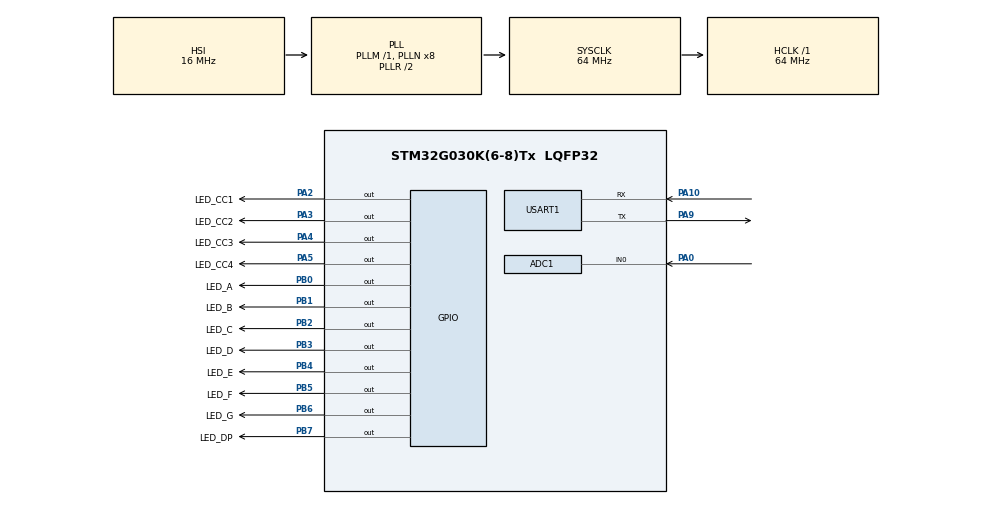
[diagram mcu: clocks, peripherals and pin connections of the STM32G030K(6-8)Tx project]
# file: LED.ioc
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ADC1.Channel-0\#ChannelRegularConversion=ADC_CHANNEL_0
ADC1.NbrOfConversionFlag=1
ADC1.Rank-0\#ChannelRegularConversion=1
ADC1.SamplingTime-0\#ChannelRegularConversion=ADC_SAMPLINGTIME_COMMON_1
ADC1.SamplingTimeCommon1=ADC_SAMPLETIME_19CYCLES_5
ADC1.SamplingTimeCommon2=ADC_SAMPLETIME_19CYCLES_5
ADC1.SelectedChannel=ADC_CHANNEL_0
ADC1.master=1
Mcu.Family=STM32G0
Mcu.Name=STM32G030K(6-8)Tx
Mcu.Package=LQFP32
NVIC.ADC1_IRQn=true\:0\:0\:false\:false\:true\:true\:true\:true
NVIC.USART1_IRQn=true\:0\:0\:false\:false\:true\:true\:true\:true
PA0.Mode=IN0
PA0.Signal=ADC1_IN0
PA10.Mode=Asynchronous
PA10.Signal=USART1_RX
PA13.Mode=Serial_Wire
PA13.Signal=SYS_SWDIO
PA14-BOOT0.Mode=Serial_Wire
PA14-BOOT0.Signal=SYS_SWCLK
PA2.GPIO_Label=LED_CC1
PA2.PinState=GPIO_PIN_SET
PA2.Signal=GPIO_Output
PA3.GPIO_Label=LED_CC2
PA3.PinState=GPIO_PIN_SET
PA3.Signal=GPIO_Output
PA4.GPIO_Label=LED_CC3
PA4.PinState=GPIO_PIN_SET
PA4.Signal=GPIO_Output
PA5.GPIO_Label=LED_CC4
PA5.PinState=GPIO_PIN_SET
PA5.Signal=GPIO_Output
PA9.Mode=Asynchronous
PA9.Signal=USART1_TX
PB0.GPIO_Label=LED_A
PB0.Signal=GPIO_Output
PB1.GPIO_Label=LED_B
PB1.Signal=GPIO_Output
PB2.GPIO_Label=LED_C
PB2.Signal=GPIO_Output
PB3.GPIO_Label=LED_D
PB3.Signal=GPIO_Output
PB4.GPIO_Label=LED_E
PB4.Signal=GPIO_Output
PB5.GPIO_Label=LED_F
PB5.Signal=GPIO_Output
PB6.GPIO_Label=LED_G
PB6.Signal=GPIO_Output
PB7.GPIO_FM7=__NULL
PB7.GPIO_Label=LED_DP
PB7.Signal=GPIO_Output
ProjectManager.HeapSize=0x200
ProjectManager.StackSize=0x400
ProjectManager.TargetToolchain=CMake
RCC.ADCFreq_Value=64000000
RCC.AHBFreq_Value=64000000
RCC.CortexFreq_Value=64000000
RCC.EXTERNAL_CLOCK_VALUE=12288000
RCC.HCLKFreq_Value=64000000
RCC.HSE_VALUE=8000000
RCC.HSI_VALUE=16000000
RCC.LSE_VALUE=32768
RCC.SYSCLKFreq_VALUE=64000000
RCC.SYSCLKSource=RCC_SYSCLKSOURCE_PLLCLK
RCC.VCOOutputFreq_Value=128000000
TIM3.Period=49999
TIM3.Prescaler=639
TIM3.TIM_MasterOutputTrigger=TIM_TRGO_UPDATE
USART1.VirtualMode-Asynchronous=VM_ASYNC
VP_TIM3_VS_ClockSourceINT.Mode=Internal
board=custom

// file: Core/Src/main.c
/* USER CODE BEGIN Header */
/**
  ******************************************************************************
  * @file           : main.c
  * @brief          : Main program body
  ******************************************************************************
  * @attention
  *
  * Copyright (c) 2025 STMicroelectronics.
  * All rights reserved.
  *
  * This software is licensed under terms that can be found in the LICENSE file
  * in the root directory of this software component.
  * If no LICENSE file comes with this software, it is provided AS-IS.
  *
  ******************************************************************************
  */
/* USER CODE END Header */
#include "main.h"
#include "adc.h"
#include "tim.h"
#include "usart.h"
#include "gpio.h"

/* USER CODE BEGIN Includes */
#include "led_seg_display.h"
#include <stdio.h>
#include <string.h>
/* USER CODE END Includes */

/* USER CODE BEGIN PV */
uint8_t adc_cvt_cplt;
uint16_t volt;
uint16_t final_volt;
/* USER CODE END PV */

void SystemClock_Config(void);

/* USER CODE BEGIN 0 */
void HAL_ADC_ConvCpltCallback(ADC_HandleTypeDef *hadc)
{
  static uint32_t last_scan = 0;
  uint32_t current_tick = HAL_GetTick();

  if(hadc->Instance == ADC1) // 使用简化的判断
  {
    // 1. 读取ADC原始值
    uint16_t raw_value = HAL_ADC_GetValue(hadc);
    // 2. 计算电压值 (注意：这里只做最简单的计算，把复杂运算留给主循环)
    volt = raw_value; // 直接保存原始值，让主循环处理

    // 3. 设置一个标志位，通知主循环数据已准备好
    adc_cvt_cplt = 1;
    DisplayDigitINT32(final_volt);
    //控制扫描频率,现在是2Hz
        if(current_tick - last_scan >= 2) {
            last_scan = current_tick;
            DisplayCallback();
        }
    // 关键：删除这里的ADC启动调用，打破无限中断循环！
    // HAL_ADC_Start_IT(&hadc1);

    // HAL_Delay(500);
      }
}

/* USER CODE END 0 */

int main(void)
{

  /* MCU Configuration--------------------------------------------------------*/

  /* Reset of all peripherals, Initializes the Flash interface and the Systick. */
  HAL_Init();

  /* USER CODE BEGIN Init */
  char txbuf[32];
  int len;
  /* USER CODE END Init */

  /* Configure the system clock */
  SystemClock_Config();

  /* Initialize all configured peripherals */
  MX_GPIO_Init();
  MX_ADC1_Init();
  MX_USART1_UART_Init();
  MX_TIM3_Init();
  // /* USER CODE BEGIN 2 */

  uint32_t start_ms = HAL_GetTick();   // 记录进入while前的时间戳
  uint8_t scrolling_done = 0;          // 滚动完成标志

  // // 启动ADC中断
  // HAL_ADC_Start_IT(&hadc1);
  // 启动定时器并使能中断 (TIM3将作为ADC的触发器)
  HAL_TIM_Base_Start_IT(&htim3);

  /* USER CODE END 2 */

  /* Infinite loop */
  /* USER CODE BEGIN WHILE */
  while (1)
  {
    uint32_t now = HAL_GetTick();
    if (!scrolling_done)
    {
      if (now - start_ms < 5000)
      {
        DisplayScrolling2352662();     // 前5秒执行滚动显示
      }
      else
      {
        scrolling_done = 1;            // 5秒后只执行下面的ADC处理
      }
    }

    if (scrolling_done)
    {
      HAL_ADC_Start_IT(&hadc1);
      // 检查ADC数据是否准备好
      if (adc_cvt_cplt == 1)
      {
        adc_cvt_cplt = 0;              // 重置标志
        final_volt = (volt * 3300) / 4096;
        memset(txbuf, 0, sizeof(txbuf));
        len = sprintf(txbuf, "voltage=%d mV\n", final_volt);
        if (len > 0)
        {
          HAL_UART_Transmit(&huart1, (uint8_t*)txbuf, len, 100);
        }
        HAL_Delay(500);

        int i =1;
        i++;
        DisplayDigitINT32(i);
      }
    }

  }
    /* USER CODE END WHILE */

  }

void SystemClock_Config(void)
{
  RCC_OscInitTypeDef RCC_OscInitStruct = {0};
  RCC_ClkInitTypeDef RCC_ClkInitStruct = {0};

  /** Configure the main internal regulator output voltage
  */
  HAL_PWREx_ControlVoltageScaling(PWR_REGULATOR_VOLTAGE_SCALE1);

  /** Initializes the RCC Oscillators according to the specified parameters
  * in the RCC_OscInitTypeDef structure.
  */
  RCC_OscInitStruct.OscillatorType = RCC_OSCILLATORTYPE_HSI;
  RCC_OscInitStruct.HSIState = RCC_HSI_ON;
  RCC_OscInitStruct.HSIDiv = RCC_HSI_DIV1;
  RCC_OscInitStruct.HSICalibrationValue = RCC_HSICALIBRATION_DEFAULT;
  RCC_OscInitStruct.PLL.PLLState = RCC_PLL_ON;
  RCC_OscInitStruct.PLL.PLLSource = RCC_PLLSOURCE_HSI;
  RCC_OscInitStruct.PLL.PLLM = RCC_PLLM_DIV1;
  RCC_OscInitStruct.PLL.PLLN = 8;
  RCC_OscInitStruct.PLL.PLLP = RCC_PLLP_DIV2;
  RCC_OscInitStruct.PLL.PLLR = RCC_PLLR_DIV2;
  if (HAL_RCC_OscConfig(&RCC_OscInitStruct) != HAL_OK)
  {
    Error_Handler();
  }

  /** Initializes the CPU, AHB and APB buses clocks
  */
  RCC_ClkInitStruct.ClockType = RCC_CLOCKTYPE_HCLK|RCC_CLOCKTYPE_SYSCLK
                              |RCC_CLOCKTYPE_PCLK1;
  RCC_ClkInitStruct.SYSCLKSource = RCC_SYSCLKSOURCE_PLLCLK;
  RCC_ClkInitStruct.AHBCLKDivider = RCC_SYSCLK_DIV1;
  RCC_ClkInitStruct.APB1CLKDivider = RCC_HCLK_DIV1;

  if (HAL_RCC_ClockConfig(&RCC_ClkInitStruct, FLASH_LATENCY_2) != HAL_OK)
  {
    Error_Handler();
  }
}

void Error_Handler(void)
{
  __disable_irq();
  while (1)
  {
  }
}
